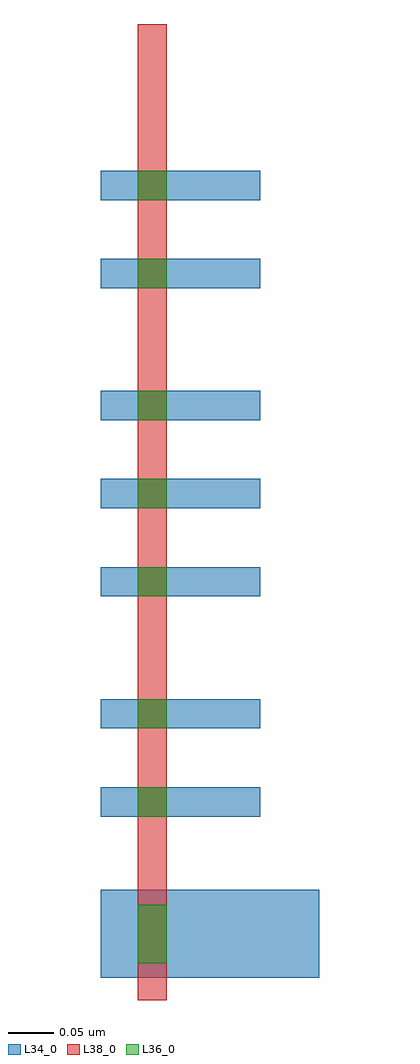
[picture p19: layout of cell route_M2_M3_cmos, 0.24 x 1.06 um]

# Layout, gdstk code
import gdstk
lib = gdstk.Library(unit=1e-6, precision=5e-10)
def R(c, l, rs):  # rectangles x0, y0, x1, y1
    for r in rs: c.add(gdstk.rectangle(r[:2], r[2:], *l))
def A(c, l, x, y, w, h, nx, ny, dx, dy):  # array of equal rectangles
    R(c, l, [(x+i*dx, y+j*dy, x+i*dx+w, y+j*dy+h) for i in range(nx) for j in range(ny)])
L34_0 = (34, 0)
L36_0 = (36, 0)
L38_0 = (38, 0)

via_m2_m3_0 = lib.new_cell('via_M2_M3_0')
R(via_m2_m3_0, L34_0, [(-0.056,-0.016,0.056,0.016)])
R(via_m2_m3_0, L36_0, [(-0.016,-0.016,0.016,0.016)])
R(via_m2_m3_0, L38_0, [(-0.016,-0.056,0.016,0.056)])

via_m2_m3_1 = lib.new_cell('via_M2_M3_1')
R(via_m2_m3_1, L34_0, [(-0.056,-0.048,0.056,0.048)])
R(via_m2_m3_1, L36_0, [(-0.016,-0.032,0.016,0.032)])
R(via_m2_m3_1, L38_0, [(-0.016,-0.072,0.016,0.072)])

route_m2_m3_cmos = lib.new_cell('route_M2_M3_cmos')
A(route_m2_m3_cmos, L34_0, 0, 0.368, 0.118, 0.032, 1, 3, 0, 0.096)
R(route_m2_m3_cmos, L34_0, [(0,-0.048,0.182,0.048), (0,0.128,0.118,0.16), (0,0.224,0.118,0.256), (0,0.704,0.118,0.736), (0,0.8,0.118,0.832)])
R(route_m2_m3_cmos, L38_0, [(-0.016,0,0.016,0.992)])
route_m2_m3_cmos.add(gdstk.Reference(via_m2_m3_0, (0,0.384)))
route_m2_m3_cmos.add(gdstk.Reference(via_m2_m3_0, (0,0.576)))
route_m2_m3_cmos.add(gdstk.Reference(via_m2_m3_0, (0,0.816)))
route_m2_m3_cmos.add(gdstk.Reference(via_m2_m3_0, (0,0.24)))
route_m2_m3_cmos.add(gdstk.Reference(via_m2_m3_0, (0,0.48)))
route_m2_m3_cmos.add(gdstk.Reference(via_m2_m3_0, (0,0.72)))
route_m2_m3_cmos.add(gdstk.Reference(via_m2_m3_0, (0,0.144)))
route_m2_m3_cmos.add(gdstk.Reference(via_m2_m3_1, (0,0)))

lib.write_gds('route_M2_M3_cmos.gds')
